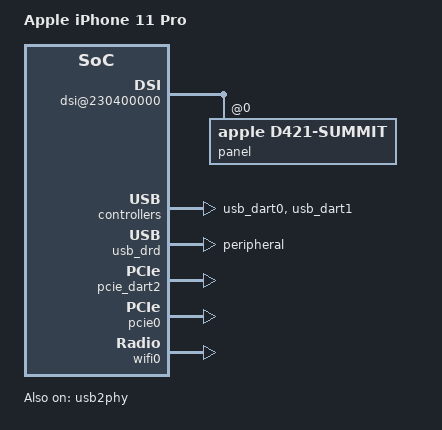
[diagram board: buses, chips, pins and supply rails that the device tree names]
// SPDX-License-Identifier: GPL-2.0-only OR MIT
/*
 * Apple D421
 *
 * Copyright (c) 2026, Yuriy Havrylyuk <yhavry@gmail.com>
 */
/dts-v1/;

#include "t8030.dtsi"
#include "t8030-common.dtsi"

/ {
	compatible = "apple,d421", "apple,t8030", "apple,arm-platform";
	model = "Apple iPhone 11 Pro";

	aliases {
		bluetooth0 = &bluetooth0;
		wifi0 = &wifi0;
	};

	chosen {
		#address-cells = <2>;
		#size-cells = <2>;
		ranges;
		stdout-path = "serial0:115200n8";

		framebuffer@0 {
			compatible = "apple,simple-framebuffer", "simple-framebuffer";
			reg = <0 0 0 0>; /* To be filled by loader */

			/* Format properties will be added by loader */
			status = "disabled";
		};
	};
};

&{/soc} {
	dsi@230400000 {
		compatible = "apple,t8030-display-pipe-mipi";
		reg = <0x2 0x30400000 0x0 0xc0000>;
		#address-cells = <1>;
		#size-cells = <0>;

		panel@0 {
			compatible = "apple,d421-summit", "apple,summit";
			reg = <0>;
			max-brightness = <2047>;
			default-brightness = <598>;
		};
	};
};

&usb2phy {
	apple,cfg0-device = <0x27373bf3>;
	apple,cfg1-device = <0x00020c44>;
	apple,cfg0-host = <0x27373b53>;
	apple,cfg1-host = <0x00020c44>;
	status = "okay";
};

&usb_dart0 {
	status = "okay";
};

&usb_dart1 {
	status = "okay";
};

&usb_drd {
	dr_mode = "peripheral";
	maximum-speed = "high-speed";
	status = "okay";
};

&pcie_dart2 {
	status = "okay";
};

&pcie0 {
	status = "okay";
};

&port02 {
	bus-range = <1 1>;

	wifi0: wifi@0,0 {
		compatible = "pci14e4,4425";
		reg = <0x10000 0x0 0x0 0x0 0x0>;
		/* To be filled by the loader */
		local-mac-address = [00 00 00 00 00 00];
		apple,antenna-sku = "XX";
		brcm,board-type = "apple,d421";
	};

	bluetooth0: bluetooth@0,1 {
		compatible = "pci14e4,5f69";
		reg = <0x10100 0x0 0x0 0x0 0x0>;
		/* To be filled by the loader */
		local-bd-address = [00 00 00 00 00 00];
		brcm,board-type = "apple,d421";
	};
};
